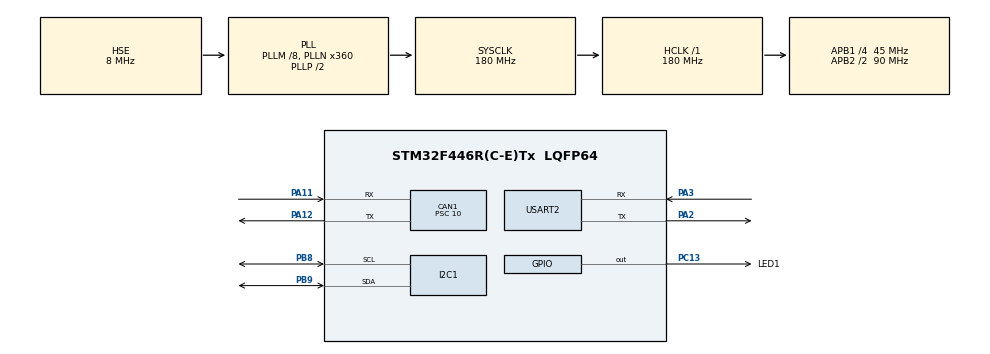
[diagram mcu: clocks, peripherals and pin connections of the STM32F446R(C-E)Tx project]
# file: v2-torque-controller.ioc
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CAN1.ABOM=ENABLE
CAN1.BS1=CAN_BS1_6TQ
CAN1.BS2=CAN_BS2_2TQ
CAN1.CalculateBaudRate=500000
CAN1.CalculateTimeBit=2000
CAN1.CalculateTimeQuantum=222.22222222222223
CAN1.NART=DISABLE
CAN1.Prescaler=10
Dma.I2C1_RX.0.Direction=DMA_PERIPH_TO_MEMORY
Dma.I2C1_RX.0.FIFOMode=DMA_FIFOMODE_DISABLE
Dma.I2C1_RX.0.Instance=DMA1_Stream0
Dma.I2C1_RX.0.MemDataAlignment=DMA_MDATAALIGN_BYTE
Dma.I2C1_RX.0.MemInc=DMA_MINC_ENABLE
Dma.I2C1_RX.0.Mode=DMA_NORMAL
Dma.I2C1_RX.0.PeriphDataAlignment=DMA_PDATAALIGN_BYTE
Dma.I2C1_RX.0.PeriphInc=DMA_PINC_DISABLE
Dma.I2C1_RX.0.Priority=DMA_PRIORITY_LOW
Dma.Request0=I2C1_RX
I2C1.I2C_Mode=I2C_Fast
Mcu.Family=STM32F4
Mcu.Name=STM32F446R(C-E)Tx
Mcu.Package=LQFP64
NVIC.CAN1_RX0_IRQn=true\:1\:0\:false\:false\:true\:false\:true\:true
NVIC.CAN1_RX1_IRQn=true\:1\:0\:false\:false\:true\:false\:true\:true
NVIC.CAN1_SCE_IRQn=true\:1\:0\:false\:false\:true\:false\:true\:true
NVIC.DMA1_Stream0_IRQn=true\:0\:0\:false\:false\:true\:false\:true\:true
NVIC.PriorityGroup=NVIC_PRIORITYGROUP_4
NVIC.USART2_IRQn=true\:0\:0\:false\:false\:true\:true\:true\:true
PA11.Mode=CAN_Activate
PA11.Signal=CAN1_RX
PA12.Mode=CAN_Activate
PA12.Signal=CAN1_TX
PA13.Mode=Serial_Wire
PA13.Signal=SYS_JTMS-SWDIO
PA14.Mode=Serial_Wire
PA14.Signal=SYS_JTCK-SWCLK
PA2.Mode=Asynchronous
PA2.Signal=USART2_TX
PA3.Mode=Asynchronous
PA3.Signal=USART2_RX
PB8.Mode=I2C
PB8.Signal=I2C1_SCL
PB9.Mode=I2C
PB9.Signal=I2C1_SDA
PC13.GPIO_Label=LED1
PC13.Signal=GPIO_Output
PH0-OSC_IN.Mode=HSE-External-Oscillator
PH0-OSC_IN.Signal=RCC_OSC_IN
PH1-OSC_OUT.Mode=HSE-External-Oscillator
PH1-OSC_OUT.Signal=RCC_OSC_OUT
ProjectManager.HeapSize=0x200
ProjectManager.StackSize=0x400
ProjectManager.TargetToolchain=STM32CubeIDE
RCC.AHBFreq_Value=180000000
RCC.APB1CLKDivider=RCC_HCLK_DIV4
RCC.APB1Freq_Value=45000000
RCC.APB1TimFreq_Value=90000000
RCC.APB2CLKDivider=RCC_HCLK_DIV2
RCC.APB2Freq_Value=90000000
RCC.APB2TimFreq_Value=180000000
RCC.CortexFreq_Value=180000000
RCC.HCLKFreq_Value=180000000
RCC.HSE_VALUE=8000000
RCC.PLLM=8
RCC.PLLN=360
RCC.PLLSourceVirtual=RCC_PLLSOURCE_HSE
RCC.SYSCLKFreq_VALUE=180000000
RCC.SYSCLKSource=RCC_SYSCLKSOURCE_PLLCLK
RCC.USBFreq_Value=180000000
RCC.VCOOutputFreq_Value=360000000
USART2.VirtualMode=VM_ASYNC
board=custom

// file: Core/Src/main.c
/* USER CODE BEGIN Header */
/**
  ******************************************************************************
  * @file           : main.c
  * @brief          : Main program body
  *
  * v2-torque-controller — joint-controller port for the custom-PCB STM32F446RET6
  * board. Drives one VESC over CAN and streams IMU + motor position back over
  * CAN. Accepts torque commands or an estop from the Pi.
  *
  * No UART on the v2 PCB — all status comes out over CAN, plus a single LED
  * (PC13) used as a coarse boot/run indicator:
  *   - Solid OFF after power-up, briefly:  MCU running but pre-init
  *   - Solid ON for ~0.5 s during boot:    init in progress
  *   - Slow blink (1 Hz, 50% duty):        running normally
  *   - Fast blink (5 Hz):                  IMU not found at boot
  *   - Solid ON forever:                   CAN init failed at boot
  *
  * Differs from the Nucleo joint-controller mainly in:
  *   - HSE 8 MHz crystal + PLL -> 180 MHz (vs. HSI -> 84 MHz)
  *   - I2C1 on PB8/PB9 (vs. I2C3 on PA8/PC9)
  *   - I2C1_RX DMA on DMA1 Stream 0 (vs. I2C3_RX on DMA1 Stream 1)
  *   - Status LED on PC13 (vs. PA5 on Nucleo)
  *   - No user button, no UART debug console
  ******************************************************************************
  */
/* USER CODE END Header */
#include "main.h"
#include "can.h"
#include "dma.h"
#include "i2c.h"
#include "usart.h"
#include "gpio.h"

/* USER CODE BEGIN Includes */
#include "lsm6ds3tr.h"
#include "can_common.h"
#include "can_imu.h"
#include "can_motor.h"
#include "can/ak70_9.h"
/* USER CODE END Includes */

/* USER CODE BEGIN PD */
/*
 * Per-board configuration. Change before flashing each joint.
 *   Left Hip = 1, Right Hip = 2, Left Knee = 3, Right Knee = 4
 */
#define MY_NODE_ID          1
#define MY_MOTOR_CAN_ID     104

/* AK70-9 KV60: torque = Kt * gear_ratio * Iq -> Iq = torque / KT_EFFECTIVE */
#define AK70_9_KT           0.159f
#define AK70_9_GEAR_RATIO   9.0f
#define KT_EFFECTIVE        (AK70_9_KT * AK70_9_GEAR_RATIO)

#define CURRENT_REFRESH_MS  50      /* prevents VESC current-loop timeout */
#define CURRENT_LIMIT       0.5f    /* test-safe current clamp (A) */
#define IMU_PERIOD_MS       2       /* 500 Hz IMU send */
#define HEARTBEAT_PERIOD_MS 500     /* 1 Hz LED blink, 50% duty */
/* USER CODE END PD */

/* USER CODE BEGIN PV */
static MotorStatus motor_status      = {0};
static float      active_current     = 0.0f;
static uint8_t    motor_active       = 0;
static uint8_t    estop_active       = 0;
static uint32_t   last_refresh_tick  = 0;
static uint8_t    origin_set         = 0;   /* zeroed on first VESC feedback frame */
/* USER CODE END PV */

void SystemClock_Config(void);
/* USER CODE BEGIN PFP */
static void CAN_Send_IMU_Data(void);
static void CAN_Send_Heartbeat(uint32_t counter);
static void fault_blink_forever(uint32_t period_ms);
/* USER CODE END PFP */

/* USER CODE BEGIN 0 */
static float clampf(float val, float lo, float hi)
{
  if (val < lo) return lo;
  if (val > hi) return hi;
  return val;
}
/* USER CODE END 0 */

int main(void)
{

  /* MCU Configuration--------------------------------------------------------*/

  /* Reset of all peripherals, Initializes the Flash interface and the Systick. */
  HAL_Init();

  /* Configure the system clock */
  SystemClock_Config();

  /* Initialize all configured peripherals */
  MX_GPIO_Init();
  MX_DMA_Init();
  MX_CAN1_Init();
  MX_I2C1_Init();
  MX_USART2_UART_Init();
  /* USER CODE BEGIN 2 */
  /* Brief LED-on during init so a quick visual confirms the MCU is alive. */
  HAL_GPIO_WritePin(LED1_GPIO_Port, LED1_Pin, GPIO_PIN_SET);

  if (!can_common_init(&hcan1, MY_NODE_ID))
  {
    /* CAN INIT FAILED -> LED solid ON forever. */
    HAL_GPIO_WritePin(LED1_GPIO_Port, LED1_Pin, GPIO_PIN_SET);
    while (1) {}
  }
  can_set_motor_filter(MY_MOTOR_CAN_ID);

  lsm6ds3tr_init_driver(&hi2c1);
  if (!lsm6ds3tr_check_connection())
  {
    /* IMU NOT FOUND -> LED fast blink forever (5 Hz, 100 ms toggle). */
    fault_blink_forever(100);
  }
  lsm6ds3tr_calibrate();

  HAL_GPIO_WritePin(LED1_GPIO_Port, LED1_Pin, GPIO_PIN_RESET);
  uint32_t last_imu_tick       = HAL_GetTick();
  uint32_t last_heartbeat_tick = HAL_GetTick();
  /* USER CODE END 2 */

  /* Infinite loop */
  /* USER CODE BEGIN WHILE */
  while (1)
  {
    /* -- Drain CAN RX -- */
    CanFrame rx_frame;
    while (can_recv(&rx_frame))
    {
      if (rx_frame.is_extended)
      {
        motor_receive(&motor_status, rx_frame.data);

        /* First time we hear from the VESC = motor is detected. Zero the
         * encoder origin so position is reported relative to whatever pose
         * the joint is in at startup. Mode 0 = temporary (lost on power
         * cycle), so each boot re-zeros without writing to the VESC's flash. */
        if (!origin_set)
        {
          comm_can_set_origin(MY_MOTOR_CAN_ID, 0);
          origin_set = 1;
        }
      }
      else
      {
        uint8_t msg_type = can_get_msg_type((uint16_t)rx_frame.id);

        if (msg_type == CAN_MSG_ESTOP)
        {
          active_current = 0.0f;
          motor_active   = 0;
          estop_active   = 1;
          comm_can_set_current(MY_MOTOR_CAN_ID, 0.0f);
        }
        else if (msg_type == CAN_MSG_TORQUE_CMD && !estop_active)
        {
          float torque_nm;
          if (can_parse_torque_cmd(&rx_frame, &torque_nm))
          {
            float current = torque_nm / KT_EFFECTIVE;
            active_current = clampf(current, -CURRENT_LIMIT, CURRENT_LIMIT);
            motor_active = 1;
            comm_can_set_current(MY_MOTOR_CAN_ID, active_current);
            last_refresh_tick = HAL_GetTick();
          }
        }
      }
    }

    /* -- Refresh: re-send current command every 50 ms to prevent VESC timeout -- */
    if (motor_active &&
        (HAL_GetTick() - last_refresh_tick >= CURRENT_REFRESH_MS))
    {
      comm_can_set_current(MY_MOTOR_CAN_ID, active_current);
      last_refresh_tick = HAL_GetTick();
    }

    /* -- 500 Hz IMU send + DMA read -- */
    if ((HAL_GetTick() - last_imu_tick) >= IMU_PERIOD_MS)
    {
      last_imu_tick = HAL_GetTick();
      CAN_Send_IMU_Data();
      lsm6ds3tr_init_dma_read();
    }

    /* -- 1 Hz heartbeat: toggle LED + send a known CAN frame.
     *    The heartbeat frame is the diagnostic for "is the firmware
     *    actually putting bits on the bus?". It does not depend on the
     *    IMU pipeline, motor state, or CAN RX -- if candump on the Pi
     *    sees the heartbeat ID but not the IMU IDs, the IMU side is
     *    broken; if it sees nothing at all, the bus is broken. -- */
    if (HAL_GetTick() - last_heartbeat_tick >= HEARTBEAT_PERIOD_MS)
    {
      HAL_GPIO_TogglePin(LED1_GPIO_Port, LED1_Pin);
      static uint32_t heartbeat_counter = 0;
      CAN_Send_Heartbeat(heartbeat_counter++);
      last_heartbeat_tick = HAL_GetTick();
    }

    /* USER CODE END WHILE */

  }
}

void SystemClock_Config(void)
{
  RCC_OscInitTypeDef RCC_OscInitStruct = {0};
  RCC_ClkInitTypeDef RCC_ClkInitStruct = {0};

  /** Configure the main internal regulator output voltage
  */
  __HAL_RCC_PWR_CLK_ENABLE();
  __HAL_PWR_VOLTAGESCALING_CONFIG(PWR_REGULATOR_VOLTAGE_SCALE1);

  /** Initializes the RCC Oscillators according to the specified parameters
  * in the RCC_OscInitTypeDef structure.
  */
  RCC_OscInitStruct.OscillatorType = RCC_OSCILLATORTYPE_HSE;
  RCC_OscInitStruct.HSEState = RCC_HSE_ON;
  RCC_OscInitStruct.PLL.PLLState = RCC_PLL_ON;
  RCC_OscInitStruct.PLL.PLLSource = RCC_PLLSOURCE_HSE;
  RCC_OscInitStruct.PLL.PLLM = 8;
  RCC_OscInitStruct.PLL.PLLN = 360;
  RCC_OscInitStruct.PLL.PLLP = RCC_PLLP_DIV2;
  RCC_OscInitStruct.PLL.PLLQ = 2;
  RCC_OscInitStruct.PLL.PLLR = 2;
  if (HAL_RCC_OscConfig(&RCC_OscInitStruct) != HAL_OK)
  {
    Error_Handler();
  }

  /** Activate the Over-Drive mode
  */
  if (HAL_PWREx_EnableOverDrive() != HAL_OK)
  {
    Error_Handler();
  }

  /** Initializes the CPU, AHB and APB buses clocks
  */
  RCC_ClkInitStruct.ClockType = RCC_CLOCKTYPE_HCLK|RCC_CLOCKTYPE_SYSCLK
                              |RCC_CLOCKTYPE_PCLK1|RCC_CLOCKTYPE_PCLK2;
  RCC_ClkInitStruct.SYSCLKSource = RCC_SYSCLKSOURCE_PLLCLK;
  RCC_ClkInitStruct.AHBCLKDivider = RCC_SYSCLK_DIV1;
  RCC_ClkInitStruct.APB1CLKDivider = RCC_HCLK_DIV4;
  RCC_ClkInitStruct.APB2CLKDivider = RCC_HCLK_DIV2;

  if (HAL_RCC_ClockConfig(&RCC_ClkInitStruct, FLASH_LATENCY_5) != HAL_OK)
  {
    Error_Handler();
  }
}

/* USER CODE BEGIN 4 */

/**
  * @brief Encode + transmit the latest IMU reading. Motor position rides
  *        along in the gyro frame's spare 2 bytes (DLC 8) for shared timestamp.
  */
static void CAN_Send_IMU_Data(void)
{
  LSM6DS3TR_Data_t *imu = lsm6ds3tr_get_data();

  if (imu->state != SENSOR_STATE_CONNECTED) return;
  if (HAL_CAN_GetTxMailboxesFreeLevel(&hcan1) < 2) return;

  /* Snapshot under DMA-IRQ mask so the filter fields can't update mid-copy. */
  HAL_NVIC_DisableIRQ(DMA1_Stream0_IRQn);
  float ax = imu->accel.filt_x;
  float ay = imu->accel.filt_y;
  float az = imu->accel.filt_z;
  float gx = imu->gyro.filt_x;
  float gy = imu->gyro.filt_y;
  float gz = imu->gyro.filt_z;
  HAL_NVIC_EnableIRQ(DMA1_Stream0_IRQn);

  can_send_imu_accel(MY_NODE_ID, ax, ay, az);
  can_send_imu_gyro(MY_NODE_ID, gx, gy, gz, motor_status.position);
}

/**
  * @brief Diagnostic heartbeat frame, sent at 1 Hz alongside the LED toggle.
  *
  * Wire format (DLC 8, big-endian):
  *   bytes 0-3 : monotonically increasing counter (1 per heartbeat)
  *   bytes 4-7 : HAL_GetTick() snapshot in ms (uptime)
  *
  * Standard ID = (CAN_MSG_HEARTBEAT << 7) | (MY_NODE_ID << 4) | NODE_PI
  *   For MY_NODE_ID=3: id = (5<<7)|(3<<4)|0 = 0x2B0
  *
  * Test on the Pi:
  *   candump can1 -t a | grep 2B0
  * If you see one line every ~500 ms, firmware-to-bus is working and the
  * problem is somewhere downstream (script filter, IMU pipeline, etc.).
  * If you see nothing, the problem is upstream (transceiver, wiring,
  * termination, or bitrate mismatch).
  */
static void CAN_Send_Heartbeat(uint32_t counter)
{
  uint32_t uptime = HAL_GetTick();
  uint8_t  data[8];

  data[0] = (uint8_t)(counter >> 24);
  data[1] = (uint8_t)(counter >> 16);
  data[2] = (uint8_t)(counter >> 8);
  data[3] = (uint8_t)(counter);
  data[4] = (uint8_t)(uptime >> 24);
  data[5] = (uint8_t)(uptime >> 16);
  data[6] = (uint8_t)(uptime >> 8);
  data[7] = (uint8_t)(uptime);

  uint16_t id = CAN_BUILD_ID(CAN_MSG_HEARTBEAT, MY_NODE_ID, CAN_NODE_PI);
  can_send_std(id, data, 8);
}

/**
  * @brief Park here forever, toggling the status LED at a fixed rate.
  *        Used as the fault indicator for boot-time failures so an operator
  *        can identify the failure mode visually without serial.
  */
static void fault_blink_forever(uint32_t period_ms)
{
  while (1)
  {
    HAL_GPIO_TogglePin(LED1_GPIO_Port, LED1_Pin);
    HAL_Delay(period_ms);
  }
}

/* USER CODE END 4 */

void Error_Handler(void)
{
  __disable_irq();
  while (1)
  {
  }
}
